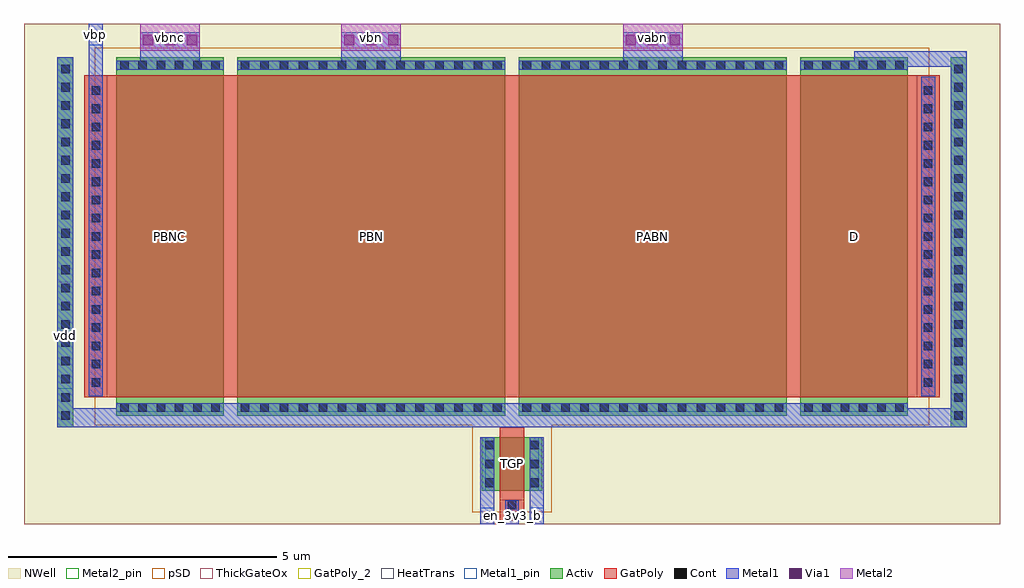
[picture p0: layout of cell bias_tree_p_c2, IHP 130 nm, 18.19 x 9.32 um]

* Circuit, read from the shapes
.subckt bias_tree_p_c2 en_3v3_b iref ni vabn vbn vbnc vbp vdd
XM1 vbnc vbp vdd vdd sg13_hv_pmos w=2u l=6u
XM2 vbn vbp vdd vdd sg13_hv_pmos w=5u l=6u
XM3 ni en_3v3_b iref vdd sg13_hv_pmos w=1u l=0.45u
XM4 vabn vbp vdd vdd sg13_hv_pmos w=5u l=6u
XM5 vdd vbp vdd vdd sg13_hv_pmos w=2u l=6u
.ends

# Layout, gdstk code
from math import pi, radians
import gdstk
lib = gdstk.Library(unit=1e-6, precision=1e-09)
def R(c, l, rs):  # rectangles x0, y0, x1, y1
    for r in rs: c.add(gdstk.rectangle(r[:2], r[2:], *l))
def A(c, l, x, y, w, h, nx, ny, dx, dy):  # array of equal rectangles
    R(c, l, [(x+i*dx, y+j*dy, x+i*dx+w, y+j*dy+h) for i in range(nx) for j in range(ny)])
Activ = (1, 0)
GatPoly = (5, 0)
GatPoly_2 = (5, 2)
Cont = (6, 0)
Metal1 = (8, 0)
Metal1_pin = (8, 2)
Metal2 = (10, 0)
Metal2_pin = (10, 2)
pSD = (14, 0)
Via1 = (19, 0)
NWell = (31, 0)
ThickGateOx = (44, 0)
HeatTrans = (51, 0)

pmoshv_w2_l6 = lib.new_cell('pmosHV_w2_l6')
R(pmoshv_w2_l6, Activ, [(0,0,0.3,0.3), (0,0,6.68,2), (6.38,0,6.68,0.3)])
R(pmoshv_w2_l6, GatPoly, [(0.34,-0.18,6.34,2.18)])
R(pmoshv_w2_l6, GatPoly_2, [(0.34,-0.18,6.34,2.18)])
A(pmoshv_w2_l6, Cont, 0.07, 0.07, 0.16, 0.16, 1, 6, 0, 0.34)
A(pmoshv_w2_l6, Cont, 6.45, 0.07, 0.16, 0.16, 1, 6, 0, 0.34)
R(pmoshv_w2_l6, Metal1, [(0.07,0,0.23,2), (6.45,0,6.61,2)])
R(pmoshv_w2_l6, Metal1_pin, [(0.07,0,0.23,2), (6.45,0,6.61,2)])
R(pmoshv_w2_l6, pSD, [(-0.18,-0.4,6.86,2.4)])
R(pmoshv_w2_l6, NWell, [(-0.62,-0.62,7.3,2.62)])
R(pmoshv_w2_l6, ThickGateOx, [(-0.62,-0.62,7.3,2.62)])
R(pmoshv_w2_l6, HeatTrans, [(0.34,-0.18,6.34,2.18)])
pmoshv_w2_l6.add(gdstk.Label('pmosHV', (3.34,1), layer=63, texttype=0))
pmoshv_w2_l6.add(gdstk.Label('pmos', (3.34,1), layer=51, texttype=0))

pmoshv_w5_l6 = lib.new_cell('pmosHV_w5_l6')
R(pmoshv_w5_l6, Activ, [(0,0,0.3,0.3), (0,0,6.68,5), (6.38,0,6.68,0.3)])
R(pmoshv_w5_l6, GatPoly, [(0.34,-0.18,6.34,5.18)])
R(pmoshv_w5_l6, GatPoly_2, [(0.34,-0.18,6.34,5.18)])
A(pmoshv_w5_l6, Cont, 0.07, 0.07, 0.16, 0.16, 1, 4, 0, 0.36)
A(pmoshv_w5_l6, Cont, 6.45, 0.07, 0.16, 0.16, 1, 4, 0, 0.36)
A(pmoshv_w5_l6, Cont, 0.07, 1.515, 0.16, 0.16, 1, 3, 0, 0.36)
A(pmoshv_w5_l6, Cont, 6.45, 1.515, 0.16, 0.16, 1, 3, 0, 0.36)
A(pmoshv_w5_l6, Cont, 0.07, 2.6, 0.16, 0.16, 1, 3, 0, 0.36)
A(pmoshv_w5_l6, Cont, 6.45, 2.6, 0.16, 0.16, 1, 3, 0, 0.36)
A(pmoshv_w5_l6, Cont, 0.07, 3.685, 0.16, 0.16, 1, 3, 0, 0.36)
A(pmoshv_w5_l6, Cont, 6.45, 3.685, 0.16, 0.16, 1, 3, 0, 0.36)
R(pmoshv_w5_l6, Cont, [(0.07,4.77,0.23,4.93), (6.45,4.77,6.61,4.93)])
R(pmoshv_w5_l6, Metal1, [(0.07,0,0.23,5), (6.45,0,6.61,5)])
R(pmoshv_w5_l6, Metal1_pin, [(0.07,0,0.23,5), (6.45,0,6.61,5)])
R(pmoshv_w5_l6, pSD, [(-0.18,-0.4,6.86,5.4)])
R(pmoshv_w5_l6, NWell, [(-0.62,-0.62,7.3,5.62)])
R(pmoshv_w5_l6, ThickGateOx, [(-0.62,-0.62,7.3,5.62)])
R(pmoshv_w5_l6, HeatTrans, [(0.34,-0.18,6.34,5.18)])
pmoshv_w5_l6.add(gdstk.Label('pmosHV', (3.34,2.5), layer=63, texttype=0))
pmoshv_w5_l6.add(gdstk.Label('pmos', (3.34,2.5), layer=51, texttype=0))

pmoshv_w1_l0p45 = lib.new_cell('pmosHV_w1_l0p45')
R(pmoshv_w1_l0p45, Activ, [(0,0,0.3,0.3), (0,0,1.13,1), (0.83,0,1.13,0.3)])
R(pmoshv_w1_l0p45, GatPoly, [(0.34,-0.18,0.79,1.18)])
R(pmoshv_w1_l0p45, GatPoly_2, [(0.34,-0.18,0.79,1.18)])
A(pmoshv_w1_l0p45, Cont, 0.07, 0.07, 0.16, 0.16, 1, 3, 0, 0.35)
A(pmoshv_w1_l0p45, Cont, 0.9, 0.07, 0.16, 0.16, 1, 3, 0, 0.35)
R(pmoshv_w1_l0p45, Metal1, [(0.07,0,0.23,1), (0.9,0,1.06,1)])
R(pmoshv_w1_l0p45, Metal1_pin, [(0.07,0,0.23,1), (0.9,0,1.06,1)])
R(pmoshv_w1_l0p45, pSD, [(-0.18,-0.4,1.31,1.4)])
R(pmoshv_w1_l0p45, NWell, [(-0.62,-0.62,1.75,1.62)])
R(pmoshv_w1_l0p45, ThickGateOx, [(-0.62,-0.62,1.75,1.62)])
R(pmoshv_w1_l0p45, HeatTrans, [(0.34,-0.18,0.79,1.18)])
pmoshv_w1_l0p45.add(gdstk.Label('pmosHV', (0.565,0.5), layer=63, texttype=0))
pmoshv_w1_l0p45.add(gdstk.Label('pmos', (0.565,0.5), layer=51, texttype=0))

bias_tree_p_c2 = lib.new_cell('bias_tree_p_c2')
R(bias_tree_p_c2, Activ, [(0.62,1.8,0.92,8.7), (17.27,1.8,17.57,8.7)])
R(bias_tree_p_c2, GatPoly, [(8.87,0.06,9.32,0.62), (1.12,2.36,1.72,8.36), (16.47,2.36,17.07,8.36)])
A(bias_tree_p_c2, Cont, 0.69, 1.94, 0.16, 0.16, 1, 20, 0, 0.34)
A(bias_tree_p_c2, Cont, 17.34, 1.94, 0.16, 0.16, 1, 20, 0, 0.34)
A(bias_tree_p_c2, Cont, 1.26, 2.56, 0.16, 0.16, 1, 17, 0, 0.34)
A(bias_tree_p_c2, Cont, 16.77, 2.56, 0.16, 0.16, 1, 17, 0, 0.34)
R(bias_tree_p_c2, Cont, [(9.015,0.28,9.175,0.44)])
R(bias_tree_p_c2, Metal1, [(8.5,0,8.76,1.62), (8.965,0,9.225,0.44), (9.43,0,9.69,1.62), (0.62,1.8,17.57,2.16), (0.62,1.8,0.92,8.7), (1.72,1.8,16.47,2.25), (17.27,1.8,17.57,8.7), (1.21,2.38,1.47,8.34), (16.72,2.38,16.98,8.34), (1.21,8.34,1.47,9.32), (2.165,8.47,3.275,9.165), (5.915,8.47,7.025,9.165), (11.165,8.47,12.275,9.165), (15.47,8.52,17.57,8.81)])
A(bias_tree_p_c2, Metal1_pin, 8.5, 0, 0.26, 0.3, 3, 1, 0.465, 0)
R(bias_tree_p_c2, Metal1_pin, [(0.62,2.52,0.92,4.52), (1.21,8.92,1.47,9.32)])
R(bias_tree_p_c2, Metal2, [(2.165,8.82,3.275,9.32), (5.915,8.82,7.025,9.32), (11.165,8.82,12.275,9.32)])
R(bias_tree_p_c2, Metal2_pin, [(2.165,8.82,3.275,9.32), (5.915,8.82,7.025,9.32), (11.165,8.82,12.275,9.32)])
A(bias_tree_p_c2, Via1, 2.215, 8.925, 0.19, 0.19, 3, 1, 0.41, 0)
A(bias_tree_p_c2, Via1, 5.965, 8.925, 0.19, 0.19, 3, 1, 0.41, 0)
A(bias_tree_p_c2, Via1, 11.215, 8.925, 0.19, 0.19, 3, 1, 0.41, 0)
R(bias_tree_p_c2, NWell, [(0,0,18.19,9.32)])
R(bias_tree_p_c2, ThickGateOx, [(0,0,18.19,9.32)])
bias_tree_p_c2.add(gdstk.Reference(pmoshv_w2_l6, (3.72,2.02), rotation=pi/2))
bias_tree_p_c2.add(gdstk.Reference(pmoshv_w5_l6, (8.97,2.02), rotation=pi/2))
bias_tree_p_c2.add(gdstk.Reference(pmoshv_w5_l6, (9.22,2.02), rotation=pi/2, x_reflection=True))
bias_tree_p_c2.add(gdstk.Reference(pmoshv_w2_l6, (14.47,2.02), rotation=pi/2, x_reflection=True))
bias_tree_p_c2.add(gdstk.Reference(pmoshv_w1_l0p45, (8.53,1.62), x_reflection=True))
bias_tree_p_c2.add(gdstk.Label('vbp', (1.34,9.12), layer=8, texttype=25))
bias_tree_p_c2.add(gdstk.Label('vdd', (0.77,3.52), layer=8, texttype=25))
bias_tree_p_c2.add(gdstk.Label('en_3v3_b', (9.095,0.15), layer=8, texttype=25))
bias_tree_p_c2.add(gdstk.Label('iref', (8.63,0.15), layer=8, texttype=25))
bias_tree_p_c2.add(gdstk.Label('ni', (9.56,0.15), layer=8, texttype=25))
bias_tree_p_c2.add(gdstk.Label('vbnc', (2.72,9.07), layer=10, texttype=25))
bias_tree_p_c2.add(gdstk.Label('vbn', (6.47,9.07), layer=10, texttype=25))
bias_tree_p_c2.add(gdstk.Label('vabn', (11.72,9.07), layer=10, texttype=25))
bias_tree_p_c2.add(gdstk.Label('PBNC', (2.72,5.36), layer=63, texttype=0))
bias_tree_p_c2.add(gdstk.Label('PBN', (6.47,5.36), layer=63, texttype=0))
bias_tree_p_c2.add(gdstk.Label('PABN', (11.72,5.36), layer=63, texttype=0))
bias_tree_p_c2.add(gdstk.Label('D', (15.47,5.36), layer=63, texttype=0))
bias_tree_p_c2.add(gdstk.Label('TGP', (9.095,1.12), layer=63, texttype=0))

lib.write_gds('bias_tree_p_c2.gds')
